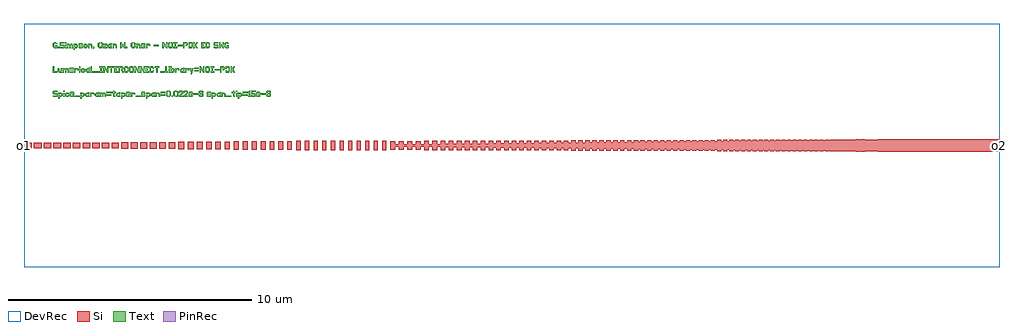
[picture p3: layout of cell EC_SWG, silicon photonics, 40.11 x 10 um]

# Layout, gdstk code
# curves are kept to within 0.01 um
import gdstk
lib = gdstk.Library(unit=1e-6, precision=1e-09)
def R(c, l, rs):  # rectangles x0, y0, x1, y1
    for r in rs: c.add(gdstk.rectangle(r[:2], r[2:], *l))
def P(c, l, *ps):  # polygons
    for p in ps: c.add(gdstk.Polygon(p, *l))
Si = (1, 0)
PinRec = (1, 10)
Text = (10, 0)
DevRec = (68, 0)

linear_taper = lib.new_cell('linear_taper')
P(linear_taper, Si, [(20,-0.25),(0,-0.05),(0,0.05),(20,0.25)])

rectangle_s5_0p5_lwg_cf_ = lib.new_cell('rectangle_S5_0p5_LWG_CF_0c97502c')
R(rectangle_s5_0p5_lwg_cf_, Si, [(0,0,5,0.5)])

text_tgpsimpson__ozan_w_ = lib.new_cell('text_TGpSimpson__Ozan_W_5e31ca1c')
R(text_tgpsimpson__ozan_w_, Text, [(1.225,4,1.275,4.05), (1.525,4,1.575,4.15), (4.025,4,4.075,4.05), (5.175,4.088,5.375,4.138), (6.15,4.088,6.35,4.138), (1.525,4.2,1.575,4.25)])
P(text_tgpsimpson__ozan_w_, Text, [(2.675,3.95),(2.675,4.05),(2.725,4.05),(2.725,4)],
  [(1.6,4),(1.6,4.175),(1.65,4.175),(1.65,4.15),(1.675,4.175),(1.7,4.175),(1.725,4.15),(1.75,4.175),(1.8,4.175),(1.85,4.125),(1.85,4),(1.8,4),(1.8,4.1),(1.775,4.125),(1.75,4.1),(1.75,4),(1.7,4),(1.7,4.1),(1.675,4.125),(1.65,4.1),(1.65,4)],
  [(1.875,3.925),(1.875,4.075),(1.925,4.075),(1.925,4.05),(1.975,4.05),(2,4.075),(2,4.1),(1.975,4.125),(1.925,4.125),(1.925,4.1),(1.875,4.1),(1.875,4.175),(2,4.175),(2.05,4.125),(2.05,4.05),(2,4),(1.925,4),(1.925,3.925)],
  [(2.325,4),(2.275,4.05),(2.275,4.125),(2.325,4.175),(2.35,4.175),(2.35,4.125),(2.325,4.1),(2.325,4.075),(2.35,4.05),(2.375,4.05),(2.4,4.075),(2.4,4.1),(2.375,4.125),(2.375,4.175),(2.4,4.175),(2.45,4.125),(2.45,4.05),(2.4,4)],
  [(2.475,4),(2.475,4.175),(2.525,4.175),(2.525,4.15),(2.55,4.175),(2.6,4.175),(2.65,4.125),(2.65,4),(2.6,4),(2.6,4.1),(2.575,4.125),(2.55,4.125),(2.525,4.1),(2.525,4)],
  [(3.1,4),(3.1,4.05),(3.175,4.125),(3.1,4.125),(3.1,4.175),(3.25,4.175),(3.25,4.125),(3.175,4.05),(3.25,4.05),(3.25,4)],
  [(3.475,4),(3.475,4.175),(3.525,4.175),(3.525,4.15),(3.55,4.175),(3.6,4.175),(3.65,4.125),(3.65,4),(3.6,4),(3.6,4.1),(3.575,4.125),(3.55,4.125),(3.525,4.1),(3.525,4)],
  [(4.45,4),(4.45,4.175),(4.5,4.175),(4.5,4.15),(4.525,4.175),(4.575,4.175),(4.625,4.125),(4.625,4),(4.575,4),(4.575,4.1),(4.55,4.125),(4.525,4.125),(4.5,4.1),(4.5,4)],
  [(4.85,4),(4.85,4.175),(4.9,4.175),(4.9,4.15),(4.925,4.175),(5,4.175),(5.025,4.15),(5.025,4.1),(4.975,4.1),(4.975,4.125),(4.925,4.125),(4.9,4.1),(4.9,4)],
  [(3.325,4),(3.275,4.05),(3.275,4.125),(3.334,4.175),(3.4,4.175),(3.4,4.194),(3.45,4.194),(3.45,4.1),(3.4,4.1),(3.4,4.125),(3.35,4.125),(3.325,4.1),(3.325,4.075),(3.35,4.05),(3.4,4.05),(3.4,4.075),(3.45,4.075),(3.45,4)],
  [(2.1,4),(2.075,4.025),(2.075,4.05),(2.2,4.05),(2.2,4.075),(2.1,4.075),(2.075,4.1),(2.075,4.175),(2.1,4.2),(2.225,4.2),(2.25,4.175),(2.25,4.15),(2.125,4.15),(2.125,4.125),(2.225,4.125),(2.25,4.1),(2.25,4.025),(2.225,4)],
  [(4.675,4),(4.65,4.025),(4.65,4.175),(4.675,4.2),(4.8,4.2),(4.825,4.175),(4.825,4.1),(4.8,4.075),(4.735,4.075),(4.735,4.125),(4.775,4.125),(4.775,4.15),(4.7,4.15),(4.7,4.05),(4.825,4.05),(4.825,4.025),(4.8,4)],
  [(1.075,4),(1.025,4.05),(1.025,4.2),(1.075,4.25),(1.15,4.25),(1.2,4.2),(1.2,4.175),(1.15,4.175),(1.125,4.2),(1.1,4.2),(1.075,4.175),(1.075,4.075),(1.1,4.05),(1.15,4.05),(1.15,4.075),(1.125,4.075),(1.125,4.125),(1.2,4.125),(1.2,4.025),(1.175,4)],
  [(1.325,4),(1.3,4.025),(1.3,4.05),(1.45,4.05),(1.45,4.1),(1.325,4.1),(1.3,4.125),(1.3,4.225),(1.325,4.25),(1.475,4.25),(1.5,4.225),(1.5,4.2),(1.35,4.2),(1.35,4.15),(1.475,4.15),(1.5,4.125),(1.5,4.025),(1.475,4)],
  [(2.925,4),(2.875,4.05),(2.875,4.2),(2.925,4.25),(2.958,4.25),(2.958,4.2),(2.95,4.2),(2.925,4.175),(2.925,4.075),(2.95,4.05),(3,4.05),(3.025,4.075),(3.025,4.175),(2.993,4.2),(2.993,4.25),(3.025,4.25),(3.075,4.2),(3.075,4.05),(3.025,4)],
  [(3.8,4),(3.8,4.25),(3.85,4.25),(3.85,4.1),(3.9,4.175),(3.95,4.1),(3.95,4.25),(4,4.25),(4,4),(3.95,4),(3.9,4.075),(3.85,4)],
  [(4.275,4),(4.225,4.05),(4.225,4.2),(4.275,4.25),(4.308,4.25),(4.308,4.2),(4.3,4.2),(4.275,4.175),(4.275,4.075),(4.3,4.05),(4.35,4.05),(4.375,4.075),(4.375,4.175),(4.343,4.2),(4.343,4.25),(4.375,4.25),(4.425,4.2),(4.425,4.05),(4.375,4)],
  [(5.525,4),(5.525,4.25),(5.575,4.25),(5.675,4.1),(5.675,4.25),(5.725,4.25),(5.725,4),(5.675,4),(5.575,4.15),(5.575,4)],
  [(5.8,4),(5.75,4.05),(5.75,4.2),(5.8,4.25),(5.833,4.25),(5.833,4.2),(5.825,4.2),(5.8,4.175),(5.8,4.075),(5.825,4.05),(5.875,4.05),(5.9,4.075),(5.9,4.175),(5.868,4.2),(5.868,4.25),(5.9,4.25),(5.95,4.2),(5.95,4.05),(5.9,4)],
  [(5.975,4),(5.975,4.05),(6.025,4.05),(6.025,4.2),(5.975,4.2),(5.975,4.25),(6.125,4.25),(6.125,4.2),(6.075,4.2),(6.075,4.05),(6.125,4.05),(6.125,4)],
  [(6.375,4),(6.375,4.25),(6.525,4.25),(6.575,4.2),(6.575,4.15),(6.525,4.1),(6.475,4.1),(6.475,4.15),(6.5,4.15),(6.525,4.175),(6.5,4.2),(6.425,4.2),(6.425,4)],
  [(6.6,4),(6.6,4.1),(6.65,4.1),(6.65,4.05),(6.7,4.05),(6.725,4.075),(6.725,4.175),(6.7,4.2),(6.65,4.2),(6.65,4.15),(6.6,4.15),(6.6,4.25),(6.725,4.25),(6.775,4.2),(6.775,4.05),(6.725,4)],
  [(6.8,4),(6.8,4.25),(6.85,4.25),(6.85,4.15),(6.925,4.25),(6.975,4.25),(6.975,4.225),(6.9,4.125),(6.975,4.025),(6.975,4),(6.925,4),(6.85,4.1),(6.85,4)],
  [(7.125,4),(7.125,4.25),(7.275,4.25),(7.275,4.2),(7.175,4.2),(7.175,4.15),(7.225,4.15),(7.225,4.1),(7.175,4.1),(7.175,4.05),(7.275,4.05),(7.275,4)],
  [(7.35,4),(7.3,4.05),(7.3,4.2),(7.35,4.25),(7.425,4.25),(7.475,4.2),(7.475,4.15),(7.425,4.15),(7.425,4.175),(7.4,4.2),(7.375,4.2),(7.35,4.175),(7.35,4.075),(7.375,4.05),(7.4,4.05),(7.425,4.075),(7.425,4.1),(7.475,4.1),(7.475,4.05),(7.425,4)],
  [(7.65,4),(7.625,4.025),(7.625,4.05),(7.775,4.05),(7.775,4.1),(7.65,4.1),(7.625,4.125),(7.625,4.225),(7.65,4.25),(7.8,4.25),(7.825,4.225),(7.825,4.2),(7.675,4.2),(7.675,4.15),(7.8,4.15),(7.825,4.125),(7.825,4.025),(7.8,4)],
  [(7.85,4),(7.85,4.25),(7.9,4.25),(7.9,4.1),(7.95,4.175),(8,4.1),(8,4.25),(8.05,4.25),(8.05,4),(8,4),(7.95,4.075),(7.9,4)],
  [(8.125,4),(8.075,4.05),(8.075,4.2),(8.125,4.25),(8.2,4.25),(8.25,4.2),(8.25,4.175),(8.2,4.175),(8.175,4.2),(8.15,4.2),(8.125,4.175),(8.125,4.075),(8.15,4.05),(8.2,4.05),(8.2,4.075),(8.175,4.075),(8.175,4.125),(8.25,4.125),(8.25,4.025),(8.225,4)])

text_tlumerical_interco_ = lib.new_cell('text_TLumerical_INTERCO_a21f3eaf')
R(text_tlumerical_interco_, Text, [(2.1,3,2.15,3.15), (2.7,3,2.9,3.05), (5.425,3,5.625,3.05), (5.775,3,5.825,3.15), (6.825,3.05,7.025,3.1), (7.675,3.088,7.875,3.138), (6.825,3.15,7.025,3.2), (2.1,3.2,2.15,3.25), (5.775,3.2,5.825,3.25)])
P(text_tlumerical_interco_, Text, [(1.275,3),(1.225,3.05),(1.225,3.175),(1.275,3.175),(1.275,3.075),(1.3,3.05),(1.325,3.05),(1.35,3.075),(1.35,3.175),(1.4,3.175),(1.4,3),(1.35,3),(1.35,3.025),(1.325,3)],
  [(1.425,3),(1.425,3.175),(1.475,3.175),(1.475,3.15),(1.5,3.175),(1.525,3.175),(1.55,3.15),(1.575,3.175),(1.625,3.175),(1.675,3.125),(1.675,3),(1.625,3),(1.625,3.1),(1.6,3.125),(1.575,3.1),(1.575,3),(1.525,3),(1.525,3.1),(1.5,3.125),(1.475,3.1),(1.475,3)],
  [(1.9,3),(1.9,3.175),(1.95,3.175),(1.95,3.15),(1.975,3.175),(2.05,3.175),(2.075,3.15),(2.075,3.1),(2.025,3.1),(2.025,3.125),(1.975,3.125),(1.95,3.1),(1.95,3)],
  [(2.225,3),(2.175,3.05),(2.175,3.125),(2.225,3.175),(2.3,3.175),(2.35,3.125),(2.35,3.1),(2.3,3.1),(2.275,3.125),(2.25,3.125),(2.225,3.1),(2.225,3.075),(2.25,3.05),(2.275,3.05),(2.3,3.075),(2.35,3.075),(2.35,3.05),(2.3,3)],
  [(6.05,3),(6.05,3.175),(6.1,3.175),(6.1,3.15),(6.125,3.175),(6.2,3.175),(6.225,3.15),(6.225,3.1),(6.175,3.1),(6.175,3.125),(6.125,3.125),(6.1,3.1),(6.1,3)],
  [(6.45,3),(6.45,3.175),(6.5,3.175),(6.5,3.15),(6.525,3.175),(6.6,3.175),(6.625,3.15),(6.625,3.1),(6.575,3.1),(6.575,3.125),(6.525,3.125),(6.5,3.1),(6.5,3)],
  [(6.678,2.925),(6.7,3),(6.65,3.175),(6.7,3.175),(6.725,3.088),(6.75,3.175),(6.8,3.175),(6.75,3),(6.728,2.925)],
  [(2.425,3),(2.375,3.05),(2.375,3.125),(2.434,3.175),(2.5,3.175),(2.5,3.194),(2.55,3.194),(2.55,3.1),(2.5,3.1),(2.5,3.125),(2.45,3.125),(2.425,3.1),(2.425,3.075),(2.45,3.05),(2.5,3.05),(2.5,3.075),(2.55,3.075),(2.55,3)],
  [(6.3,3),(6.25,3.05),(6.25,3.125),(6.308,3.175),(6.375,3.175),(6.375,3.194),(6.425,3.194),(6.425,3.1),(6.375,3.1),(6.375,3.125),(6.325,3.125),(6.3,3.1),(6.3,3.075),(6.325,3.05),(6.375,3.05),(6.375,3.075),(6.425,3.075),(6.425,3)],
  [(1.725,3),(1.7,3.025),(1.7,3.175),(1.725,3.2),(1.85,3.2),(1.875,3.175),(1.875,3.1),(1.85,3.075),(1.785,3.075),(1.785,3.125),(1.825,3.125),(1.825,3.15),(1.75,3.15),(1.75,3.05),(1.875,3.05),(1.875,3.025),(1.85,3)],
  [(1.025,3),(1.025,3.25),(1.075,3.25),(1.075,3.05),(1.2,3.05),(1.2,3)],
  [(2.6,3),(2.575,3.025),(2.575,3.25),(2.625,3.25),(2.625,3.05),(2.675,3.05),(2.675,3)],
  [(2.925,3),(2.925,3.05),(2.975,3.05),(2.975,3.2),(2.925,3.2),(2.925,3.25),(3.075,3.25),(3.075,3.2),(3.025,3.2),(3.025,3.05),(3.075,3.05),(3.075,3)],
  [(3.1,3),(3.1,3.25),(3.15,3.25),(3.25,3.1),(3.25,3.25),(3.3,3.25),(3.3,3),(3.25,3),(3.15,3.15),(3.15,3)],
  [(3.4,3),(3.4,3.2),(3.325,3.2),(3.325,3.25),(3.525,3.25),(3.525,3.2),(3.45,3.2),(3.45,3)],
  [(3.55,3),(3.55,3.25),(3.7,3.25),(3.7,3.2),(3.6,3.2),(3.6,3.15),(3.65,3.15),(3.65,3.1),(3.6,3.1),(3.6,3.05),(3.7,3.05),(3.7,3)],
  [(3.725,3),(3.725,3.25),(3.875,3.25),(3.925,3.2),(3.925,3.15),(3.875,3.1),(3.925,3.05),(3.925,3),(3.875,3),(3.875,3.025),(3.825,3.075),(3.825,3.15),(3.85,3.15),(3.875,3.175),(3.85,3.2),(3.775,3.2),(3.775,3)],
  [(4,3),(3.95,3.05),(3.95,3.2),(4,3.25),(4.075,3.25),(4.125,3.2),(4.125,3.15),(4.075,3.15),(4.075,3.175),(4.05,3.2),(4.025,3.2),(4,3.175),(4,3.075),(4.025,3.05),(4.05,3.05),(4.075,3.075),(4.075,3.1),(4.125,3.1),(4.125,3.05),(4.075,3)],
  [(4.2,3),(4.15,3.05),(4.15,3.2),(4.2,3.25),(4.233,3.25),(4.233,3.2),(4.225,3.2),(4.2,3.175),(4.2,3.075),(4.225,3.05),(4.275,3.05),(4.3,3.075),(4.3,3.175),(4.268,3.2),(4.268,3.25),(4.3,3.25),(4.35,3.2),(4.35,3.05),(4.3,3)],
  [(4.375,3),(4.375,3.25),(4.425,3.25),(4.525,3.1),(4.525,3.25),(4.575,3.25),(4.575,3),(4.525,3),(4.425,3.15),(4.425,3)],
  [(4.6,3),(4.6,3.25),(4.65,3.25),(4.75,3.1),(4.75,3.25),(4.8,3.25),(4.8,3),(4.75,3),(4.65,3.15),(4.65,3)],
  [(4.825,3),(4.825,3.25),(4.975,3.25),(4.975,3.2),(4.875,3.2),(4.875,3.15),(4.925,3.15),(4.925,3.1),(4.875,3.1),(4.875,3.05),(4.975,3.05),(4.975,3)],
  [(5.05,3),(5,3.05),(5,3.2),(5.05,3.25),(5.125,3.25),(5.175,3.2),(5.175,3.15),(5.125,3.15),(5.125,3.175),(5.1,3.2),(5.075,3.2),(5.05,3.175),(5.05,3.075),(5.075,3.05),(5.1,3.05),(5.125,3.075),(5.125,3.1),(5.175,3.1),(5.175,3.05),(5.125,3)],
  [(5.275,3),(5.275,3.2),(5.2,3.2),(5.2,3.25),(5.4,3.25),(5.4,3.2),(5.325,3.2),(5.325,3)],
  [(5.675,3),(5.65,3.025),(5.65,3.25),(5.7,3.25),(5.7,3.05),(5.75,3.05),(5.75,3)],
  [(5.85,3),(5.85,3.075),(5.9,3.075),(5.9,3.05),(5.95,3.05),(5.975,3.075),(5.975,3.1),(5.95,3.125),(5.9,3.125),(5.9,3.1),(5.85,3.1),(5.85,3.25),(5.9,3.25),(5.9,3.175),(5.975,3.175),(6.025,3.125),(6.025,3.05),(5.975,3)],
  [(7.05,3),(7.05,3.25),(7.1,3.25),(7.2,3.1),(7.2,3.25),(7.25,3.25),(7.25,3),(7.2,3),(7.1,3.15),(7.1,3)],
  [(7.325,3),(7.275,3.05),(7.275,3.2),(7.325,3.25),(7.357,3.25),(7.357,3.2),(7.325,3.175),(7.325,3.075),(7.35,3.05),(7.4,3.05),(7.425,3.075),(7.425,3.175),(7.4,3.2),(7.392,3.2),(7.392,3.25),(7.425,3.25),(7.475,3.2),(7.475,3.05),(7.425,3)],
  [(7.5,3),(7.5,3.05),(7.55,3.05),(7.55,3.2),(7.5,3.2),(7.5,3.25),(7.65,3.25),(7.65,3.2),(7.6,3.2),(7.6,3.05),(7.65,3.05),(7.65,3)],
  [(7.9,3),(7.9,3.25),(8.05,3.25),(8.1,3.2),(8.1,3.15),(8.05,3.1),(8,3.1),(8,3.15),(8.025,3.15),(8.05,3.175),(8.025,3.2),(7.95,3.2),(7.95,3)],
  [(8.125,3),(8.125,3.1),(8.175,3.1),(8.175,3.05),(8.225,3.05),(8.25,3.075),(8.25,3.175),(8.225,3.2),(8.175,3.2),(8.175,3.15),(8.125,3.15),(8.125,3.25),(8.25,3.25),(8.3,3.2),(8.3,3.05),(8.25,3)],
  [(8.325,3),(8.325,3.25),(8.375,3.25),(8.375,3.15),(8.45,3.25),(8.5,3.25),(8.5,3.225),(8.425,3.125),(8.5,3.025),(8.5,3),(8.45,3),(8.375,3.1),(8.375,3)])

text_tspice_paramtaper__ = lib.new_cell('text_TSpice_paramtaper__78291151')
R(text_tspice_paramtaper__, Text, [(1.45,2,1.5,2.15), (1.925,2,2.125,2.05), (4.425,2,4.625,2.05), (5.9,2,5.95,2.05), (8.15,2,8.35,2.05), (8.55,2,8.6,2.15), (3.225,2.05,3.425,2.1), (5.45,2.05,5.65,2.1), (8.825,2.05,9.025,2.1), (6.8,2.088,7,2.138), (9.575,2.088,9.775,2.138), (3.225,2.15,3.425,2.2), (5.45,2.15,5.65,2.2), (8.825,2.15,9.025,2.2), (1.45,2.2,1.5,2.25), (8.55,2.2,8.6,2.25)])
P(text_tspice_paramtaper__, Text, [(1.25,1.925),(1.25,2.075),(1.3,2.075),(1.3,2.05),(1.35,2.05),(1.375,2.075),(1.375,2.1),(1.35,2.125),(1.3,2.125),(1.3,2.1),(1.25,2.1),(1.25,2.175),(1.375,2.175),(1.425,2.125),(1.425,2.05),(1.375,2),(1.3,2),(1.3,1.925)],
  [(1.575,2),(1.525,2.05),(1.525,2.125),(1.575,2.175),(1.65,2.175),(1.7,2.125),(1.7,2.1),(1.65,2.1),(1.625,2.125),(1.6,2.125),(1.575,2.1),(1.575,2.075),(1.6,2.05),(1.625,2.05),(1.65,2.075),(1.7,2.075),(1.7,2.05),(1.65,2)],
  [(2.15,1.925),(2.15,2.075),(2.2,2.075),(2.2,2.05),(2.25,2.05),(2.275,2.075),(2.275,2.1),(2.25,2.125),(2.2,2.125),(2.2,2.1),(2.15,2.1),(2.15,2.175),(2.275,2.175),(2.325,2.125),(2.325,2.05),(2.275,2),(2.2,2),(2.2,1.925)],
  [(2.55,2),(2.55,2.175),(2.6,2.175),(2.6,2.15),(2.625,2.175),(2.7,2.175),(2.725,2.15),(2.725,2.1),(2.675,2.1),(2.675,2.125),(2.625,2.125),(2.6,2.1),(2.6,2)],
  [(2.95,2),(2.95,2.175),(3,2.175),(3,2.15),(3.025,2.175),(3.05,2.175),(3.075,2.15),(3.1,2.175),(3.15,2.175),(3.2,2.125),(3.2,2),(3.15,2),(3.15,2.1),(3.125,2.125),(3.1,2.1),(3.1,2),(3.05,2),(3.05,2.1),(3.025,2.125),(3,2.1),(3,2)],
  [(3.825,1.925),(3.825,2.075),(3.875,2.075),(3.875,2.05),(3.925,2.05),(3.95,2.075),(3.95,2.1),(3.925,2.125),(3.875,2.125),(3.875,2.1),(3.825,2.1),(3.825,2.175),(3.95,2.175),(4,2.125),(4,2.05),(3.95,2),(3.875,2),(3.875,1.925)],
  [(4.225,2),(4.225,2.175),(4.275,2.175),(4.275,2.15),(4.3,2.175),(4.375,2.175),(4.4,2.15),(4.4,2.1),(4.35,2.1),(4.35,2.125),(4.3,2.125),(4.275,2.1),(4.275,2)],
  [(4.85,1.925),(4.85,2.075),(4.9,2.075),(4.9,2.05),(4.95,2.05),(4.975,2.075),(4.975,2.1),(4.95,2.125),(4.9,2.125),(4.9,2.1),(4.85,2.1),(4.85,2.175),(4.975,2.175),(5.025,2.125),(5.025,2.05),(4.975,2),(4.9,2),(4.9,1.925)],
  [(5.25,2),(5.25,2.175),(5.3,2.175),(5.3,2.15),(5.325,2.175),(5.375,2.175),(5.425,2.125),(5.425,2),(5.375,2),(5.375,2.1),(5.35,2.125),(5.325,2.125),(5.3,2.1),(5.3,2)],
  [(7.55,1.925),(7.55,2.075),(7.6,2.075),(7.6,2.05),(7.65,2.05),(7.675,2.075),(7.675,2.1),(7.65,2.125),(7.6,2.125),(7.6,2.1),(7.55,2.1),(7.55,2.175),(7.675,2.175),(7.725,2.125),(7.725,2.05),(7.675,2),(7.6,2),(7.6,1.925)],
  [(7.95,2),(7.95,2.175),(8,2.175),(8,2.15),(8.025,2.175),(8.075,2.175),(8.125,2.125),(8.125,2),(8.075,2),(8.075,2.1),(8.05,2.125),(8.025,2.125),(8,2.1),(8,2)],
  [(8.625,1.925),(8.625,2.075),(8.675,2.075),(8.675,2.05),(8.725,2.05),(8.75,2.075),(8.75,2.1),(8.725,2.125),(8.675,2.125),(8.675,2.1),(8.625,2.1),(8.625,2.175),(8.75,2.175),(8.8,2.125),(8.8,2.05),(8.75,2),(8.675,2),(8.675,1.925)],
  [(2.4,2),(2.35,2.05),(2.35,2.125),(2.409,2.175),(2.475,2.175),(2.475,2.194),(2.525,2.194),(2.525,2.1),(2.475,2.1),(2.475,2.125),(2.425,2.125),(2.4,2.1),(2.4,2.075),(2.425,2.05),(2.475,2.05),(2.475,2.075),(2.525,2.075),(2.525,2)],
  [(2.8,2),(2.75,2.05),(2.75,2.125),(2.809,2.175),(2.875,2.175),(2.875,2.194),(2.925,2.194),(2.925,2.1),(2.875,2.1),(2.875,2.125),(2.825,2.125),(2.8,2.1),(2.8,2.075),(2.825,2.05),(2.875,2.05),(2.875,2.075),(2.925,2.075),(2.925,2)],
  [(3.675,2),(3.625,2.05),(3.625,2.125),(3.684,2.175),(3.75,2.175),(3.75,2.194),(3.8,2.194),(3.8,2.1),(3.75,2.1),(3.75,2.125),(3.7,2.125),(3.675,2.1),(3.675,2.075),(3.7,2.05),(3.75,2.05),(3.75,2.075),(3.8,2.075),(3.8,2)],
  [(5.1,2),(5.05,2.05),(5.05,2.125),(5.109,2.175),(5.175,2.175),(5.175,2.194),(5.225,2.194),(5.225,2.1),(5.175,2.1),(5.175,2.125),(5.125,2.125),(5.1,2.1),(5.1,2.075),(5.125,2.05),(5.175,2.05),(5.175,2.075),(5.225,2.075),(5.225,2)],
  [(7.8,2),(7.75,2.05),(7.75,2.125),(7.809,2.175),(7.875,2.175),(7.875,2.194),(7.925,2.194),(7.925,2.1),(7.875,2.1),(7.875,2.125),(7.825,2.125),(7.8,2.1),(7.8,2.075),(7.825,2.05),(7.875,2.05),(7.875,2.075),(7.925,2.075),(7.925,2)],
  [(1.75,2),(1.725,2.025),(1.725,2.175),(1.75,2.2),(1.875,2.2),(1.9,2.175),(1.9,2.1),(1.875,2.075),(1.81,2.075),(1.81,2.125),(1.85,2.125),(1.85,2.15),(1.775,2.15),(1.775,2.05),(1.9,2.05),(1.9,2.025),(1.875,2)],
  [(4.05,2),(4.025,2.025),(4.025,2.175),(4.05,2.2),(4.175,2.2),(4.2,2.175),(4.2,2.1),(4.175,2.075),(4.11,2.075),(4.11,2.125),(4.15,2.125),(4.15,2.15),(4.075,2.15),(4.075,2.05),(4.2,2.05),(4.2,2.025),(4.175,2)],
  [(4.675,2),(4.65,2.025),(4.65,2.05),(4.775,2.05),(4.775,2.075),(4.675,2.075),(4.65,2.1),(4.65,2.175),(4.675,2.2),(4.8,2.2),(4.825,2.175),(4.825,2.15),(4.7,2.15),(4.7,2.125),(4.8,2.125),(4.825,2.1),(4.825,2.025),(4.8,2)],
  [(6.625,2),(6.6,2.025),(6.6,2.175),(6.625,2.2),(6.75,2.2),(6.775,2.175),(6.775,2.1),(6.75,2.075),(6.685,2.075),(6.685,2.125),(6.725,2.125),(6.725,2.15),(6.65,2.15),(6.65,2.05),(6.775,2.05),(6.775,2.025),(6.75,2)],
  [(7.375,2),(7.35,2.025),(7.35,2.05),(7.475,2.05),(7.475,2.075),(7.375,2.075),(7.35,2.1),(7.35,2.175),(7.375,2.2),(7.5,2.2),(7.525,2.175),(7.525,2.15),(7.4,2.15),(7.4,2.125),(7.5,2.125),(7.525,2.1),(7.525,2.025),(7.5,2)],
  [(9.4,2),(9.375,2.025),(9.375,2.175),(9.4,2.2),(9.525,2.2),(9.55,2.175),(9.55,2.1),(9.525,2.075),(9.46,2.075),(9.46,2.125),(9.5,2.125),(9.5,2.15),(9.425,2.15),(9.425,2.05),(9.55,2.05),(9.55,2.025),(9.525,2)],
  [(1.05,2),(1.025,2.025),(1.025,2.05),(1.175,2.05),(1.175,2.1),(1.05,2.1),(1.025,2.125),(1.025,2.225),(1.05,2.25),(1.2,2.25),(1.225,2.225),(1.225,2.2),(1.075,2.2),(1.075,2.15),(1.2,2.15),(1.225,2.125),(1.225,2.025),(1.2,2)],
  [(3.525,2),(3.5,2.025),(3.5,2.15),(3.45,2.15),(3.45,2.2),(3.5,2.2),(3.5,2.25),(3.55,2.25),(3.55,2.2),(3.6,2.2),(3.6,2.15),(3.55,2.15),(3.55,2.05),(3.575,2.05),(3.575,2)],
  [(5.725,2),(5.675,2.05),(5.675,2.2),(5.725,2.25),(5.783,2.25),(5.77,2.2),(5.75,2.2),(5.725,2.175),(5.725,2.075),(5.75,2.05),(5.738,2)],
  [(5.768,2),(5.78,2.05),(5.8,2.05),(5.825,2.075),(5.825,2.175),(5.8,2.2),(5.813,2.25),(5.825,2.25),(5.875,2.2),(5.875,2.05),(5.825,2)],
  [(6.025,2),(5.975,2.05),(5.975,2.2),(6.025,2.25),(6.083,2.25),(6.07,2.2),(6.05,2.2),(6.025,2.175),(6.025,2.075),(6.05,2.05),(6.038,2)],
  [(6.068,2),(6.08,2.05),(6.1,2.05),(6.125,2.075),(6.125,2.175),(6.1,2.2),(6.113,2.25),(6.125,2.25),(6.175,2.2),(6.175,2.05),(6.125,2)],
  [(6.2,2),(6.2,2.05),(6.325,2.175),(6.325,2.2),(6.25,2.2),(6.25,2.175),(6.2,2.175),(6.2,2.225),(6.225,2.25),(6.35,2.25),(6.375,2.225),(6.375,2.15),(6.275,2.05),(6.375,2.05),(6.375,2)],
  [(6.4,2),(6.4,2.05),(6.525,2.175),(6.525,2.2),(6.45,2.2),(6.45,2.175),(6.4,2.175),(6.4,2.225),(6.425,2.25),(6.55,2.25),(6.575,2.225),(6.575,2.15),(6.475,2.05),(6.575,2.05),(6.575,2)],
  [(7.05,2),(7.025,2.025),(7.025,2.225),(7.05,2.25),(7.175,2.25),(7.2,2.225),(7.2,2.175),(7.15,2.175),(7.15,2.2),(7.075,2.2),(7.075,2.15),(7.175,2.15),(7.2,2.125),(7.2,2.025),(7.175,2),(7.125,2),(7.125,2.05),(7.15,2.05),(7.15,2.1),(7.075,2.1),(7.075,2.05),(7.1,2.05),(7.1,2)],
  [(8.45,2),(8.425,2.025),(8.425,2.15),(8.375,2.15),(8.375,2.2),(8.425,2.2),(8.425,2.25),(8.475,2.25),(8.475,2.2),(8.525,2.2),(8.525,2.15),(8.475,2.15),(8.475,2.05),(8.5,2.05),(8.5,2)],
  [(9.05,2),(9.05,2.05),(9.075,2.05),(9.075,2.15),(9.05,2.15),(9.05,2.2),(9.1,2.25),(9.125,2.25),(9.125,2.05),(9.15,2.05),(9.15,2)],
  [(9.2,2),(9.175,2.025),(9.175,2.075),(9.225,2.075),(9.225,2.05),(9.3,2.05),(9.3,2.1),(9.2,2.1),(9.175,2.125),(9.175,2.25),(9.35,2.25),(9.35,2.2),(9.225,2.2),(9.225,2.15),(9.325,2.15),(9.35,2.125),(9.35,2.025),(9.325,2)],
  [(9.825,2),(9.8,2.025),(9.8,2.225),(9.825,2.25),(9.95,2.25),(9.975,2.225),(9.975,2.175),(9.925,2.175),(9.925,2.2),(9.85,2.2),(9.85,2.15),(9.95,2.15),(9.975,2.125),(9.975,2.025),(9.95,2),(9.9,2),(9.9,2.05),(9.925,2.05),(9.925,2.1),(9.85,2.1),(9.85,2.05),(9.875,2.05),(9.875,2)])

ec_swg = lib.new_cell('EC_SWG')
R(ec_swg, Si, [(34.243,-0.248,34.385,0.248), (34.036,-0.247,34.179,0.247), (33.827,-0.246,33.971,0.246), (33.405,-0.245,33.551,0.245), (33.617,-0.245,33.762,0.245), (33.192,-0.244,33.338,0.244), (32.977,-0.243,33.124,0.243), (32.542,-0.242,32.691,0.242), (32.76,-0.242,32.909,0.242), (32.322,-0.241,32.472,0.241), (32.101,-0.24,32.251,0.24), (31.653,-0.239,31.805,0.239), (31.878,-0.239,32.029,0.239), (31.426,-0.238,31.579,0.238), (31.198,-0.237,31.352,0.237), (30.968,-0.236,31.122,0.236), (30.503,-0.235,30.659,0.235), (30.736,-0.235,30.891,0.235), (30.267,-0.234,30.424,0.234), (30.03,-0.233,30.188,0.233), (29.792,-0.232,29.95,0.232), (29.551,-0.231,29.71,0.231), (29.064,-0.23,29.225,0.23), (29.309,-0.23,29.469,0.23), (28.818,-0.229,28.98,0.229), (28.57,-0.228,28.733,0.228), (28.32,-0.227,28.484,0.227), (28.069,-0.226,28.233,0.226), (27.815,-0.225,27.98,0.225), (27.56,-0.224,27.725,0.224), (27.302,-0.223,27.469,0.223), (26.781,-0.222,26.95,0.222), (27.043,-0.222,27.21,0.222), (26.518,-0.221,26.687,0.221), (26.253,-0.22,26.422,0.22), (25.985,-0.219,26.156,0.219), (25.716,-0.218,25.887,0.218), (25.445,-0.217,25.617,0.217), (25.171,-0.216,25.344,0.216), (24.896,-0.215,25.07,0.215), (24.618,-0.214,24.793,0.214), (24.339,-0.213,24.514,0.213), (24.057,-0.212,24.233,0.212), (23.773,-0.211,23.95,0.211), (23.487,-0.21,23.665,0.21), (23.199,-0.209,23.377,0.209), (22.909,-0.208,23.088,0.208), (22.616,-0.207,22.796,0.207), (22.321,-0.206,22.502,0.206), (22.024,-0.205,22.206,0.205), (21.725,-0.204,21.907,0.204), (21.424,-0.203,21.607,0.203), (21.12,-0.202,21.304,0.202), (20.814,-0.201,20.998,0.201), (14.211,-0.2,14.373,0.2), (14.561,-0.2,14.723,0.2), (20.506,-0.2,20.691,0.2), (13.86,-0.199,14.023,0.199), (20.195,-0.199,20.381,0.199), (13.508,-0.198,13.672,0.198), (13.156,-0.197,13.321,0.197), (19.882,-0.197,20.069,0.197), (12.802,-0.196,12.97,0.196), (19.567,-0.196,19.754,0.196), (19.249,-0.195,19.437,0.195), (12.448,-0.194,12.618,0.194), (18.929,-0.194,19.118,0.194), (18.606,-0.193,18.796,0.193), (12.092,-0.192,12.265,0.192), (18.281,-0.192,18.472,0.192), (17.954,-0.191,18.145,0.191), (11.735,-0.19,11.911,0.19), (17.624,-0.19,17.816,0.19), (11.377,-0.188,11.557,0.188), (17.292,-0.188,17.484,0.188), (16.957,-0.187,17.15,0.187), (11.017,-0.186,11.201,0.186), (16.619,-0.186,16.813,0.186), (16.279,-0.185,16.474,0.185), (15.937,-0.184,16.132,0.184), (10.656,-0.183,10.843,0.183), (15.592,-0.182,15.787,0.182), (10.293,-0.181,10.485,0.181), (15.244,-0.181,15.44,0.181), (14.894,-0.18,15.091,0.18), (9.928,-0.178,10.125,0.178), (9.561,-0.175,9.763,0.175), (9.193,-0.172,9.4,0.172), (8.822,-0.168,9.035,0.168), (8.45,-0.165,8.669,0.165), (8.076,-0.161,8.3,0.161), (7.699,-0.158,7.93,0.158), (7.321,-0.154,7.558,0.154), (6.94,-0.151,7.184,0.151), (6.558,-0.147,6.808,0.147), (6.173,-0.144,6.43,0.144), (5.787,-0.14,6.05,0.14), (5.399,-0.137,5.668,0.137), (5.009,-0.134,5.284,0.134), (4.618,-0.131,4.898,0.131), (4.225,-0.128,4.511,0.128), (3.83,-0.125,4.122,0.125), (3.434,-0.122,3.731,0.122), (3.037,-0.12,3.339,0.12), (2.639,-0.117,2.945,0.117), (2.241,-0.116,2.55,0.116), (1.841,-0.114,2.154,0.114), (1.441,-0.112,1.756,0.112), (0.641,-0.111,0.959,0.111), (1.041,-0.111,1.358,0.111), (-0.16,-0.11,0.16,0.11), (0.24,-0.11,0.56,0.11)])
R(ec_swg, DevRec, [(-0.16,-5,39.942,5)])
ec_swg.add(gdstk.FlexPath([(-0.155,0),(-0.165,0)], 0.22, ends="flush", simple_path=True, layer=1, datatype=10))  # PinRec
ec_swg.add(gdstk.FlexPath([(39.937,0),(39.947,0)], 0.5, ends="flush", simple_path=True, layer=1, datatype=10))  # PinRec
ec_swg.add(gdstk.Reference(linear_taper, (14.942,0)))
ec_swg.add(gdstk.Reference(rectangle_s5_0p5_lwg_cf_, (34.942,-0.25)))
ec_swg.add(gdstk.Reference(rectangle_s5_0p5_lwg_cf_, (34.942,-0.25)))
ec_swg.add(gdstk.Reference(text_tgpsimpson__ozan_w_, (0,0)))
ec_swg.add(gdstk.Reference(text_tlumerical_interco_, (0,0)))
ec_swg.add(gdstk.Reference(text_tspice_paramtaper__, (0,0)))
ec_swg.add(gdstk.Label('o1', (-0.16,0), layer=1, texttype=10))
ec_swg.add(gdstk.Label('o2', (39.942,0), layer=1, texttype=10))

lib.write_gds('EC_SWG.gds')
